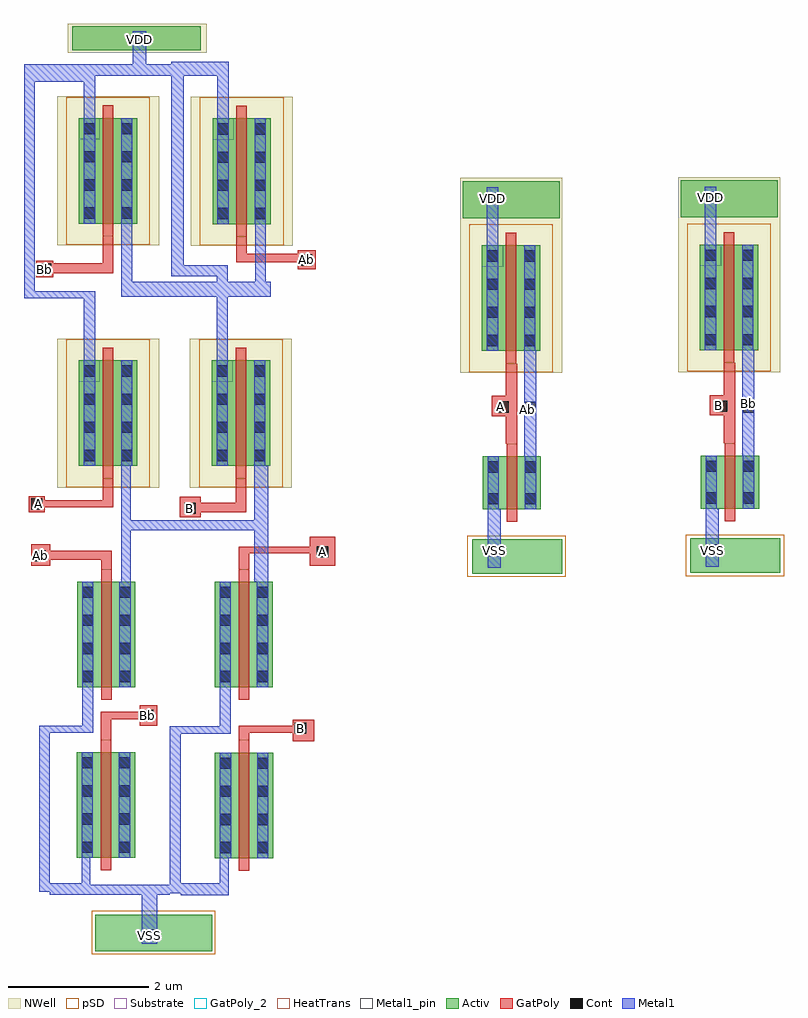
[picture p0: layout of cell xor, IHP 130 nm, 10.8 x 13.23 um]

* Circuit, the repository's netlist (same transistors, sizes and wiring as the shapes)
* Extracted by KLayout with SG13G2 LVS runset on : 12/03/2026 16:31

.SUBCKT xor
M$1 \$1 \$4 \$3 \$1 sg13_lv_nmos L=0.15u W=1.5u AS=0.51p AD=0.51p PS=3.68u
+ PD=3.68u
M$2 \$1 \$7 \$2 \$1 sg13_lv_nmos L=0.15u W=1.5u AS=0.51p AD=0.51p PS=3.68u
+ PD=3.68u
M$3 \$1 \$11 \$8 \$1 sg13_lv_nmos L=0.15u W=1.5u AS=0.51p AD=0.51p PS=3.68u
+ PD=3.68u
M$4 \$1 \$12 \$8 \$1 sg13_lv_nmos L=0.15u W=1.5u AS=0.51p AD=0.51p PS=3.68u
+ PD=3.68u
M$5 \$1 \$21 \$15 \$1 sg13_lv_nmos L=0.15u W=0.75u AS=0.255p AD=0.255p PS=2.18u
+ PD=2.18u
M$6 \$1 \$23 \$17 \$1 sg13_lv_nmos L=0.15u W=0.75u AS=0.255p AD=0.255p PS=2.18u
+ PD=2.18u
M$7 \$16 \$13 \$8 \$24 sg13_lv_pmos L=0.15u W=1.5u AS=0.51p AD=0.51p PS=3.68u
+ PD=3.68u
M$8 \$16 \$14 \$8 \$26 sg13_lv_pmos L=0.15u W=1.5u AS=0.51p AD=0.51p PS=3.68u
+ PD=3.68u
M$9 \$20 \$21 \$15 \$20 sg13_lv_pmos L=0.15u W=1.5u AS=0.51p AD=0.51p PS=3.68u
+ PD=3.68u
M$10 \$22 \$23 \$17 \$22 sg13_lv_pmos L=0.15u W=1.5u AS=0.51p AD=0.51p PS=3.68u
+ PD=3.68u
M$11 \$16 \$31 \$16 \$34 sg13_lv_pmos L=0.15u W=1.5u AS=0.51p AD=0.51p PS=3.68u
+ PD=3.68u
M$12 \$16 \$28 \$16 \$33 sg13_lv_pmos L=0.15u W=1.5u AS=0.51p AD=0.51p PS=3.68u
+ PD=3.68u
.ENDS xor

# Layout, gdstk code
from math import pi, radians
import gdstk
lib = gdstk.Library(unit=1e-6, precision=5e-09)
def R(c, l, rs):  # rectangles x0, y0, x1, y1
    for r in rs: c.add(gdstk.rectangle(r[:2], r[2:], *l))
def A(c, l, x, y, w, h, nx, ny, dx, dy):  # array of equal rectangles
    R(c, l, [(x+i*dx, y+j*dy, x+i*dx+w, y+j*dy+h) for i in range(nx) for j in range(ny)])
Activ = (1, 0)
GatPoly = (5, 0)
GatPoly_2 = (5, 2)
Cont = (6, 0)
Metal1 = (8, 0)
Metal1_pin = (8, 2)
pSD = (14, 0)
NWell = (31, 0)
Substrate = (40, 0)
HeatTrans = (51, 0)

nmos_1 = lib.new_cell('nmos$1')
R(nmos_1, Activ, [(0,0,0.3,0.3), (0,0,0.83,1.5), (0.53,0,0.83,0.3)])
R(nmos_1, GatPoly, [(0.34,-0.18,0.49,1.68)])
R(nmos_1, GatPoly_2, [(0.34,-0.18,0.49,1.68)])
A(nmos_1, Cont, 0.07, 0.07, 0.16, 0.16, 1, 4, 0, 0.4)
A(nmos_1, Cont, 0.6, 0.07, 0.16, 0.16, 1, 4, 0, 0.4)
R(nmos_1, Metal1, [(0.07,0,0.23,1.5), (0.6,0,0.76,1.5)])
R(nmos_1, Metal1_pin, [(0.07,0,0.23,1.5), (0.6,0,0.76,1.5)])
R(nmos_1, HeatTrans, [(0.34,-0.18,0.49,1.68)])
nmos_1.add(gdstk.Label('nmos', (0.415,0.75), layer=63, texttype=0))
nmos_1.add(gdstk.Label('nmos', (0.415,0.75), layer=51, texttype=0))

pmos_1 = lib.new_cell('pmos$1')
R(pmos_1, Activ, [(0,0,0.3,0.3), (0,0,0.83,1.5), (0.53,0,0.83,0.3)])
R(pmos_1, GatPoly, [(0.34,-0.18,0.49,1.68), (0.34,-0.18,0.49,1.68)])
A(pmos_1, Cont, 0.07, 0.07, 0.16, 0.16, 1, 4, 0, 0.4)
A(pmos_1, Cont, 0.6, 0.07, 0.16, 0.16, 1, 4, 0, 0.4)
R(pmos_1, Metal1, [(0.07,0,0.23,1.5), (0.07,0,0.23,1.5), (0.6,0,0.76,1.5), (0.6,0,0.76,1.5)])
R(pmos_1, pSD, [(-0.18,-0.3,1.01,1.8)])
R(pmos_1, NWell, [(-0.31,-0.31,1.14,1.81)])
R(pmos_1, Substrate, [(0.53,0,0.83,0.3)])
R(pmos_1, HeatTrans, [(0.34,-0.18,0.49,1.68)])
pmos_1.add(gdstk.Label('pmos', (0.415,0.75), layer=63, texttype=0))
pmos_1.add(gdstk.Label('pmos', (0.415,0.75), layer=51, texttype=0))

nmos = lib.new_cell('nmos')
R(nmos, Activ, [(0,0,0.3,0.3), (0,0,0.83,0.75), (0.53,0,0.83,0.3)])
R(nmos, GatPoly, [(0.34,-0.18,0.49,0.93)])
R(nmos, GatPoly_2, [(0.34,-0.18,0.49,0.93)])
R(nmos, Cont, [(0.07,0.07,0.23,0.23), (0.6,0.07,0.76,0.23), (0.07,0.52,0.23,0.68), (0.6,0.52,0.76,0.68)])
R(nmos, Metal1, [(0.07,0,0.23,0.75), (0.6,0,0.76,0.75)])
R(nmos, Metal1_pin, [(0.07,0,0.23,0.75), (0.6,0,0.76,0.75)])
R(nmos, HeatTrans, [(0.34,-0.18,0.49,0.93)])
nmos.add(gdstk.Label('nmos', (0.415,0.375), layer=63, texttype=0))
nmos.add(gdstk.Label('nmos', (0.415,0.375), layer=51, texttype=0))

xor = lib.new_cell('xor')
R(xor, Activ, [(-3.81,-6.11,-2.145,-5.59), (1.555,-0.74,2.835,-0.25), (4.655,-0.73,5.935,-0.24), (1.42,4.315,2.795,4.84), (4.52,4.325,5.895,4.85), (-4.135,6.7,-2.305,7.04)])
R(xor, GatPoly, [(-1,-3.125,-0.695,-2.82), (-1.765,-3.105,-1.615,-2.905), (-3.73,-3.1,-3.58,-2.705), (-1.615,-3.005,-0.9,-2.905), (-3.175,-2.905,-2.925,-2.61), (-3.58,-2.81,-3.07,-2.705), (-3.725,-0.675,-3.575,-0.415), (-1.77,-0.675,-1.62,-0.355), (-4.715,-0.63,-4.445,-0.325), (-0.755,-0.63,-0.395,-0.215), (-4.62,-0.54,-3.725,-0.415), (-1.62,-0.45,-0.635,-0.355), (-2.605,0.06,-2.305,0.355), (-2.53,0.13,-1.81,0.265), (-1.81,0.13,-1.66,0.61), (-4.755,0.135,-4.525,0.36), (-4.65,0.205,-3.7,0.3), (-3.7,0.205,-3.55,0.61), (2.03,1.105,2.19,2.245), (5.13,1.115,5.29,2.255), (1.83,1.5,2.09,1.785), (4.93,1.51,5.19,1.795), (-4.645,3.47,-4.405,3.705), (-4.46,3.53,-3.7,3.675), (-3.7,3.53,-3.55,4.055), (-0.925,3.585,-0.67,3.855), (-1.8,3.685,-1.65,4.05), (-1.65,3.685,-0.88,3.81)])
R(xor, Cont, [(-3.115,-5.96,-2.955,-5.8), (-0.97,-3.02,-0.81,-2.86), (-3.14,-2.835,-2.98,-2.675), (-4.67,-0.565,-4.51,-0.405), (-0.655,-0.51,-0.495,-0.35), (1.785,-0.495,1.945,-0.335), (4.885,-0.485,5.045,-0.325), (-2.54,0.11,-2.38,0.27), (-4.72,0.17,-4.56,0.33), (2.295,1.54,2.455,1.7), (1.915,1.55,2.075,1.71), (5.395,1.55,5.555,1.71), (5.015,1.56,5.175,1.72), (-4.595,3.515,-4.435,3.675), (-0.88,3.64,-0.72,3.8), (-0.88,3.64,-0.72,3.8), (1.76,4.515,1.92,4.675), (4.86,4.525,5.02,4.685), (-3.255,6.78,-3.095,6.94)])
R(xor, Metal1, [(-3.145,-6,-2.925,-5.305), (-2.595,-5.315,-2.035,-5.14), (-2.035,-5.315,-1.91,-4.785), (-4.455,-5.305,-4,-5.14), (-4,-5.305,-3.875,-4.78), (-3.875,-5.305,-2.745,-5.165), (-2.745,-5.285,-2.595,-3.015), (-4.605,-5.265,-4.455,-3.005), (-2.745,-3.015,-2.04,-2.91), (-2.04,-3.015,-1.88,-2.355), (-4.605,-3.005,-3.995,-2.905), (-3.995,-3.005,-3.835,-2.355), (-3.44,-0.855,-3.305,0.79), (-1.55,-0.855,-1.35,0.79), (1.77,-0.655,1.955,0.175), (4.87,-0.645,5.055,0.185), (-3.305,-0.125,-1.55,0.02), (2.29,0.925,2.46,2.425), (5.39,0.935,5.56,2.435), (-3.97,2.29,-3.81,3.175), (-2.08,2.29,-1.92,3.645), (-4.82,3.175,-3.81,3.275), (-3.44,3.195,-3.28,4.235), (-3.28,3.195,-1.315,3.41), (-4.82,3.275,-4.665,6.255), (-1.535,3.41,-1.38,4.23), (-2.73,3.49,-2.08,3.645), (-2.73,3.645,-2.55,6.54), (1.76,3.925,1.92,4.75), (4.86,3.935,5.02,4.76), (-2.07,5.73,-1.91,6.525), (-3.97,5.735,-3.81,6.5), (-4.82,6.255,-3.97,6.5), (-3.81,6.335,-2.73,6.5), (-2.73,6.335,-1.91,6.54), (-3.275,6.5,-3.085,6.97)])
R(xor, pSD, [(-3.855,-6.155,-2.1,-5.535), (1.485,-0.785,2.885,-0.2), (4.585,-0.775,5.985,-0.19)])
R(xor, NWell, [(1.38,4.235,2.83,4.885), (4.48,4.245,5.93,4.895), (-4.195,6.665,-2.22,7.08)])
xor.add(gdstk.Reference(nmos_1, (-3.235,-0.855), rotation=pi))
xor.add(gdstk.Reference(pmos_1, (-1.31,5.73), rotation=pi))
xor.add(gdstk.Reference(pmos_1, (5.62,3.935), rotation=pi))
xor.add(gdstk.Reference(pmos_1, (2.52,3.925), rotation=pi))
xor.add(gdstk.Reference(pmos_1, (-3.21,5.735), rotation=pi))
xor.add(gdstk.Reference(pmos_1, (-3.21,2.29), rotation=pi))
xor.add(gdstk.Reference(pmos_1, (-1.32,2.29), rotation=pi))
xor.add(gdstk.Reference(nmos_1, (-1.28,-0.855), rotation=pi))
xor.add(gdstk.Reference(nmos_1, (-1.275,-3.285), rotation=pi))
xor.add(gdstk.Reference(nmos_1, (-3.24,-3.28), rotation=pi))
xor.add(gdstk.Reference(nmos, (5.63,0.935), rotation=pi))
xor.add(gdstk.Reference(nmos, (2.53,0.925), rotation=pi))
xor.add(gdstk.Label('A', (1.96,1.64), layer=6, texttype=0))
xor.add(gdstk.Label('B', (5.06,1.65), layer=6, texttype=0))
xor.add(gdstk.Label('Ab', (2.34,1.595), layer=6, texttype=0))
xor.add(gdstk.Label('Bb', (5.475,1.685), layer=6, texttype=0))
xor.add(gdstk.Label('VDD', (-3.175,6.86), layer=6, texttype=0))
xor.add(gdstk.Label('Ab', (-0.8,3.72), layer=6, texttype=0))
xor.add(gdstk.Label('Bb', (-4.525,3.585), layer=6, texttype=0))
xor.add(gdstk.Label('B', (-2.46,0.19), layer=6, texttype=0))
xor.add(gdstk.Label('A', (-4.62,0.26), layer=6, texttype=0))
xor.add(gdstk.Label('Ab', (-4.59,-0.485), layer=6, texttype=0))
xor.add(gdstk.Label('A', (-0.575,-0.43), layer=6, texttype=0))
xor.add(gdstk.Label('Bb', (-3.06,-2.755), layer=6, texttype=0))
xor.add(gdstk.Label('B', (-0.89,-2.94), layer=6, texttype=0))
xor.add(gdstk.Label('VSS', (-3.035,-5.88), layer=6, texttype=0))
xor.add(gdstk.Label('VSS', (1.865,-0.415), layer=6, texttype=0))
xor.add(gdstk.Label('VSS', (4.965,-0.405), layer=6, texttype=0))
xor.add(gdstk.Label('VDD', (1.84,4.595), layer=6, texttype=0))
xor.add(gdstk.Label('VDD', (4.94,4.605), layer=6, texttype=0))

lib.write_gds('xor.gds')
